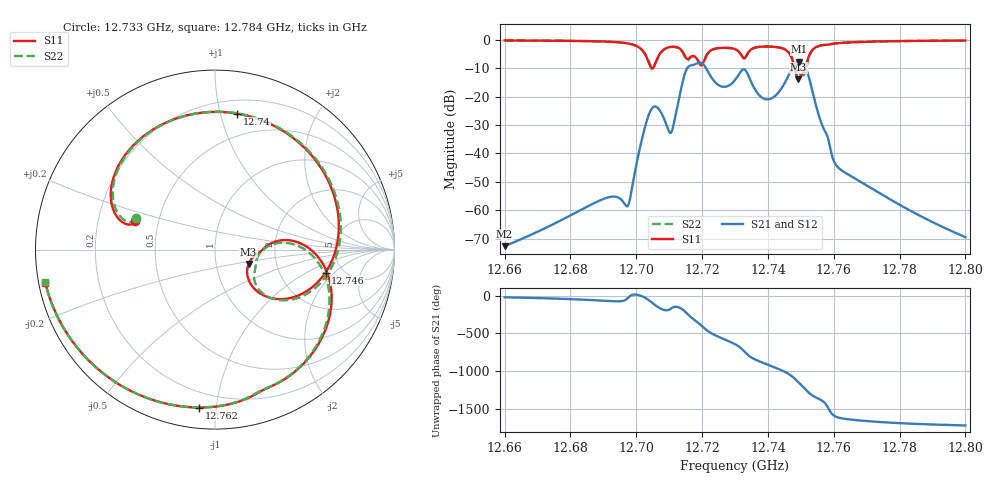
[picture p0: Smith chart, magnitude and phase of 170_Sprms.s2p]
! TOUCHSTONE file generated by CST MICROWAVE STUDIO
! Date and time: Wed Jul 31 19:27:58 2024
! Project name: WaveGuide_BPF-Ver4.1_U-shape_Ku_T3_C4_CWA_2.cst
! Parameters = {cavity_h=16; cavity_l0=10; cavity_l1=15.1782; cavity_l2=16.8418; cavity_l3=17.1426; cavity_l4=17.2392; cavity_l5=17.1422; cavity_l6=17.5599; cavity_r=2.5; cavity_screw_l=0.5; cavity_screw_r=1.5; cavity_w=8; iris_h00=0; iris_h01=8.8269; iris_h112=0; iris_h12=5.6105; iris_h211=3.6588; 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
! Header version: 2018
! Port assignment regex: !\s*Touchstone port\s*([0-9]+)\s*=\s*(CST MWS port|CST DS port)\s*([0-9]+|Zmin|Zmax)\s*\(\"(.*)\"\)(\s*mode\s*([0-9]+))?.*
! Touchstone port assignment:
! Touchstone port 1 = CST MWS port 1 ("")
! Touchstone port 2 = CST MWS port 2 ("")
# GHz S RI R 50
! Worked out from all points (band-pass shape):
!   5001 points, 12.66 GHz to 12.8 GHz, reference 50 ohm
!   highest |S21| = -7.65 dB at 12.749 GHz (marker M1); lowest = -72.7 dB at 12.66 GHz (marker M2)
!   |S21| within 3 dB of the highest: 12.71515 GHz to 12.72154 GHz (6.395 MHz wide, 0.0503 % of centre); 12.74707 GHz to 12.75178 GHz (4.708 MHz wide, 0.0369 % of centre)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
!   lowest |S11| = -13.8 dB at 12.749 GHz (marker M3), VSWR 1.51, Z = 71.8 - j12 ohm
!   |S11| at or under -10 dB: 12.70464 GHz to 12.70503 GHz (395 kHz wide, 0.00311 % of centre); 12.74814 GHz to 12.75128 GHz (3.139 MHz wide, 0.0246 % of centre)
!   |S22| runs from -12.5 to -0.2 dB; largest |S21 - S12| = 1e-09
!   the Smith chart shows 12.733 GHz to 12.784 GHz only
!   S11 on the Smith chart (normalised r, x): 12.733 GHz: 0.36, +0.15; 12.74 GHz: 0.31, +1.13; 12.746 GHz: 3.69, -1.56; 12.762 GHz: 0.11, -0.90; 12.784 GHz: 0.02, -0.10
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12.66  0.2925 0.9376  0.000217 -8.47e-05  0.000217 -8.47e-05  0.2978 0.9359
12.68335  0.695 0.6629  0.000636 -0.000803  0.000636 -0.000803  0.6999 0.6575
12.69738  0.8696 -0.0594  0.000989 -0.000646  0.000989 -0.000646  0.8677 -0.0722
12.70222  0.2963 -0.5422  0.0226 -0.00661  0.0226 -0.00661  0.2895 -0.5518
12.70469  -0.303 -0.0842  0.00175 -0.0613  0.00175 -0.0613  -0.3137 -0.1083
12.70668  -0.0136 0.5107  -0.0555 -0.0282  -0.0555 -0.0282  -0.0518 0.5011
12.71029  0.7034 0.2735  -0.023 -0.000663  -0.023 -0.000663  0.6884 0.294
12.71208  0.7532 -0.0342  -0.0433 -0.0288  -0.0433 -0.0288  0.7471 -0.0188
12.71625  0.4297 -0.2359  0.00547 0.3507  0.00547 0.3507  0.428 -0.2037
12.72073  0.3494 -0.2804  0.0949 -0.3378  0.0949 -0.3378  0.3561 -0.2829
12.72504  -0.1388 -0.7083  -0.1593 0.0138  -0.1593 0.0138  -0.1424 -0.7052
12.73  -0.6885 -0.0572  0.0392 0.193  0.0392 0.193  -0.6871 -0.04
12.73266  -0.4481 0.1613  0.3001 -0.0587  0.3001 -0.0587  -0.4399 0.1737
12.73972  0.1215 0.758  -0.0885 0.0151  -0.0885 0.0151  0.1464 0.7553
12.74596  0.6157 -0.1278  0.131 0.1737  0.131 0.1737  0.6345 -0.1246
12.74921  0.1871 -0.0799  0.1945 -0.3644  0.1945 -0.3644  0.2177 -0.148
12.74946  0.1999 -0.0573  0.1237 -0.3956  0.1237 -0.3956  0.2196 -0.1305
12.75335  0.6329 -0.1526  -0.0773 0.113  -0.0773 0.113  0.6182 -0.1572
12.76178  -0.0869 -0.8798  -0.00535 -0.000265  -0.00535 -0.000265  -0.1015 -0.8792
12.77668  -0.8525 -0.4211  -0.000828 0.00138  -0.000828 0.00138  -0.8565 -0.4137
12.78387  -0.9453 -0.1871  -0.000249 0.000906  -0.000249 0.000906  -0.9468 -0.1799
12.8  -0.9617 0.1792  4.26e-05 0.000332  4.26e-05 0.000332  -0.9606 0.1854
